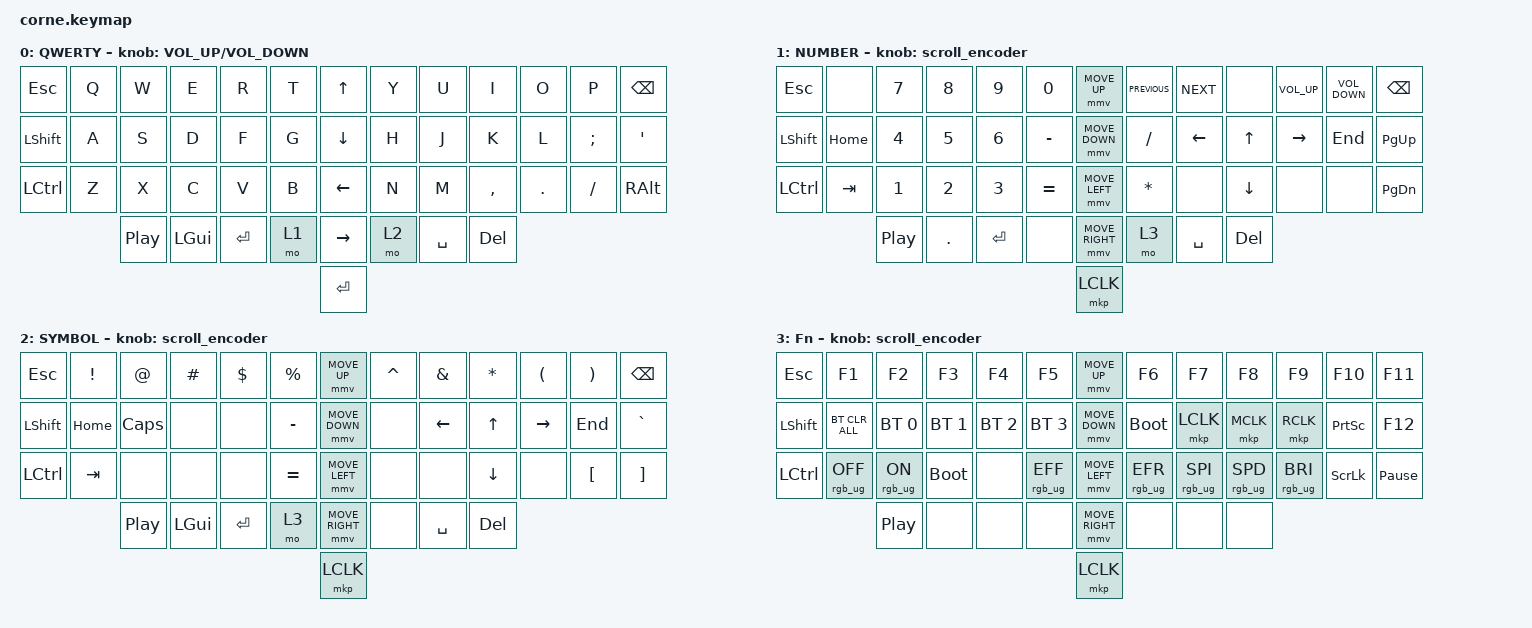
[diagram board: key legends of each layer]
#include <behaviors/mouse_keys.dtsi>
#include <behaviors.dtsi>
#include <dt-bindings/zmk/bt.h>
#include <dt-bindings/zmk/keys.h>
#include <dt-bindings/zmk/mouse.h>
#include <dt-bindings/zmk/rgb.h>

#define ZMK_MOUSE_DEFAULT_MOVE_VAL 1200  // 600
#define ZMK_MOUSE_DEFAULT_SCRL_VAL 20    // 10
#define U_MS_U &mmv MOVE_UP
#define U_MS_D &mmv MOVE_DOWN
#define U_MS_L &mmv MOVE_LEFT
#define U_MS_R &mmv MOVE_RIGHT

/ {
    behaviors {
        td0: td0 {
            compatible = "zmk,behavior-tap-dance";
            label = "TD0";
            #binding-cells = <0>;
            bindings = <&kp LEFT_SHIFT>, <&kp CAPS>;
        };

        mmv {
            acceleration-exponent = <1>;      // 1
            time-to-max-speed-ms = <900>;    // 40
            delay-ms = <0>;                   // 0
        };

        msc {
            acceleration-exponent = <1>;      // 0
            time-to-max-speed-ms = <400>;      // 500
            delay-ms = <0>;                   // 10
        };
    };

    rgb_encoder: rgb_encoder {
        compatible = "zmk,behavior-sensor-rotate";
        label = "RGB_ENCODER";
        #sensor-binding-cells = <0>;
        bindings = <&rgb_ug RGB_BRI>, <&rgb_ug RGB_BRD>;
    };

    scroll_encoder: scroll_encoder {
        compatible = "zmk,behavior-sensor-rotate";
        #sensor-binding-cells = <0>;
        bindings = <&msc SCRL_DOWN>, <&msc SCRL_UP>;

        tap-ms = <30>;
    };

    keymap {
        compatible = "zmk,keymap";

        default_layer {
            display-name = "QWERTY";

            // --------------------------------------------------------------------------------
            // |  TAB |  Q  |  W  |  E  |  R  |  T  |                ↑    |  Y  |  U   |  I  |  O  |  P  | BKSP |      &kp UP_ARROW 
            // | SHIFT |  A  |  S  |  D  |  F  |  G  |               ↓    |  H  |  J   |  K  |  L  |  ;  |  '   | 
            // | CTRL |  Z  |  X  |  C  |  V  |  B  |                ←    |  N  |  M   |  ,  |  .  |  /  | ESC  |
            //                    | GUI | LWR | SPC |                →    | ENT | RSE  | ALT |
            //                                                      enter

            bindings = <
&kp ESCAPE        &kp Q  &kp W             &kp E     &kp R      &kp T    &kp UP_ARROW     &kp Y  &kp U      &kp I      &kp O    &kp P     &kp BSPC
&kp LEFT_SHIFT    &kp A  &kp S             &kp D     &kp F      &kp G    &kp DOWN_ARROW   &kp H  &kp J      &kp K      &kp L    &kp SEMI  &kp APOSTROPHE
&kp LEFT_CONTROL  &kp Z  &kp X             &kp C     &kp V      &kp B    &kp LEFT_ARROW   &kp N  &kp M      &kp COMMA  &kp DOT  &kp FSLH  &kp RIGHT_ALT
                         &kp C_PLAY_PAUSE  &kp LGUI  &kp ENTER  &mo 1    &kp RIGHT_ARROW  &mo 2  &kp SPACE  &kp DEL
                                                                         &kp ENTER
            >;

            label = "QWERTY";
            sensor-bindings = <&inc_dec_kp C_VOLUME_UP C_VOLUME_DOWN>;
        };

        lower_layer {
            display-name = "NUMBER";

            // -----------------------------------------------------------------------------------------
            // |  TAB |  1  |  2  |  3  |  4  |  5  |   |  6  |  7  |  8  |  9  |  0  | BKSP |
            // | BTCLR| BT1 | BT2 | BT3 | BT4 | BT5 |   | LFT | DWN |  UP | RGT |     |      |
            // | SHFT |     |     |     |     |     |   |     |     |     |     |     |      |
            //                    | GUI |     | SPC |   | ENT |     | ALT |

            bindings = <
&kp ESCAPE      &none     &kp NUMBER_7  &kp N8        &kp N9        &kp N0       &mmv MOVE_UP     &kp C_PREVIOUS  &kp C_NEXT      &none           &kp C_VOLUME_UP  &kp C_VOLUME_DOWN  &kp BSPC
&kp LEFT_SHIFT  &kp HOME  &kp NUMBER_4  &kp N5        &kp NUMBER_6  &kp MINUS    &mmv MOVE_DOWN   &kp SLASH       &kp LEFT_ARROW  &kp UP_ARROW    &kp RIGHT_ARROW  &kp END            &kp PG_UP
&kp LCTRL       &kp TAB   &kp NUMBER_1  &kp NUMBER_2  &kp NUMBER_3  &kp EQUAL    &mmv MOVE_LEFT   &kp ASTERISK    &none           &kp DOWN_ARROW  &none            &none              &kp PG_DN
                          &kp C_PP      &kp PERIOD    &kp ENTER     &none        &mmv MOVE_RIGHT  &mo 3           &kp SPACE       &kp DELETE
                                                                                 &mkp LCLK
            >;

            label = "NUMBER";
            sensor-bindings = <&scroll_encoder>;
        };

        raise_layer {
            display-name = "SYMBOL";

            // -----------------------------------------------------------------------------------------
            // |  TAB |  !  |  @  |  #  |  $  |  %  |   |  ^  |  &  |  *  |  (  |  )  | BKSP |
            // | CTRL |     |     |     |     |     |   |  -  |  =  |  [  |  ]  |  \  |  `   |
            // | SHFT |     |     |     |     |     |   |  _  |  +  |  {  |  }  | "|" |  ~   |
            //                    | GUI |     | SPC |   | ENT |     | ALT |

            bindings = <
&kp ESCAPE      &kp EXCL  &kp AT            &kp HASH  &kp DLLR   &kp PRCNT    &mmv MOVE_UP     &kp CARET  &kp AMPS        &kp ASTRK       &kp LPAR         &kp RPAR          &kp BSPC
&kp LEFT_SHIFT  &kp HOME  &kp CAPS          &none     &none      &kp MINUS    &mmv MOVE_DOWN   &none      &kp LEFT_ARROW  &kp UP_ARROW    &kp RIGHT_ARROW  &kp END           &kp GRAVE
&kp LCTRL       &kp TAB   &none             &none     &none      &kp EQUAL    &mmv MOVE_LEFT   &none      &none           &kp DOWN_ARROW  &none            &kp LEFT_BRACKET  &kp RIGHT_BRACKET
                          &kp C_PLAY_PAUSE  &kp LGUI  &kp ENTER  &mo 3        &mmv MOVE_RIGHT  &none      &kp SPACE       &kp DEL
                                                                              &mkp LCLK
            >;

            label = "SYMBOL";
            sensor-bindings = <&scroll_encoder>;
        };

        layer_3 {
            display-name = "Fn";
            bindings = <
&kp ESCAPE      &kp F1           &kp F2            &kp F3        &kp F4        &kp F5             &mmv MOVE_UP     &kp F6           &kp F7           &kp F8           &kp F9           &kp F10          &kp F11
&kp LEFT_SHIFT  &bt BT_CLR_ALL   &bt BT_SEL 0      &bt BT_SEL 1  &bt BT_SEL 2  &bt BT_SEL 3       &mmv MOVE_DOWN   &bootloader      &mkp LCLK        &mkp MCLK        &mkp RCLK        &kp PRINTSCREEN  &kp F12
&kp LCTRL       &rgb_ug RGB_OFF  &rgb_ug RGB_ON    &bootloader   &none         &rgb_ug RGB_EFF    &mmv MOVE_LEFT   &rgb_ug RGB_EFR  &rgb_ug RGB_SPI  &rgb_ug RGB_SPD  &rgb_ug RGB_BRI  &kp SCROLLLOCK   &kp PAUSE_BREAK
                                 &kp C_PLAY_PAUSE  &none         &none         &none              &mmv MOVE_RIGHT  &none            &none            &none
                                                                                                  &mkp LCLK
            >;

            label = "FN";
            sensor-bindings = <&scroll_encoder>;
        };
    };
};
